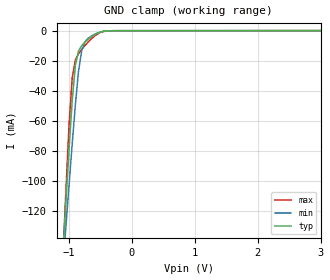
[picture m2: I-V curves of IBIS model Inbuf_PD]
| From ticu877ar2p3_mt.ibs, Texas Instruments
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[Model]   Inbuf_PD
Model_type   Input
|Signals   CK, CK-
Vinh = 1.105
Vinl = 0.665
|SiSoft Hspice_diff tt tiu877ar2p3_sia_input.mod tiu877ar2p3_sia_input_typ
|SiSoft Hspice_diff ss tiu877ar2p3_sia_input.mod tiu877ar2p3_sia_input_max
|SiSoft Hspice_diff ff tiu877ar2p3_sia_input.mod tiu877ar2p3_sia_input_min
|SiSoft include $SSTL_18/sstl_18.inc
|   typ   min   max
C_comp   2.27pF   NA   NA
|   typ   min   max
[Temperature Range]   40   105   0
[Voltage range]   1.8   1.7   1.9
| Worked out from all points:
|   GND clamp passes 1 mA (typ) near -0.51 V on its own axis
[Power Clamp]
|   Voltage   I(typ)   I(min)   I(max)
-1.9V     0A         0A         0A
0V        0A         0A         0A
3.8V      0A         0A         0A
[GND Clamp]
|   Voltage   I(typ)   I(min)   I(max)
-1.9V     -720.8mA   -596.7mA   -894.6mA
-1.1V     -149.4mA   -157.1mA   -151.8mA
-1.05V    -113.7mA   -129.6mA   -105.8mA
-1V       -78.56mA   -102.2mA   -62.2mA
-950mV    -45.96mA   -75.1mA    -31.1mA
-900mV    -23mA      -49.04mA   -19.51mA
-850mV    -13.5mA    -26.93mA   -15.37mA
-800mV    -9.939mA   -13.33mA   -12.53mA
-750mV    -7.724mA   -7.582mA   -9.985mA
-650mV    -4.237mA   -3.627mA   -5.552mA
-350mV    -43.85uA   -61.05uA   -51.55uA
3.8V      61.13uA    41.39uA    81.04uA
